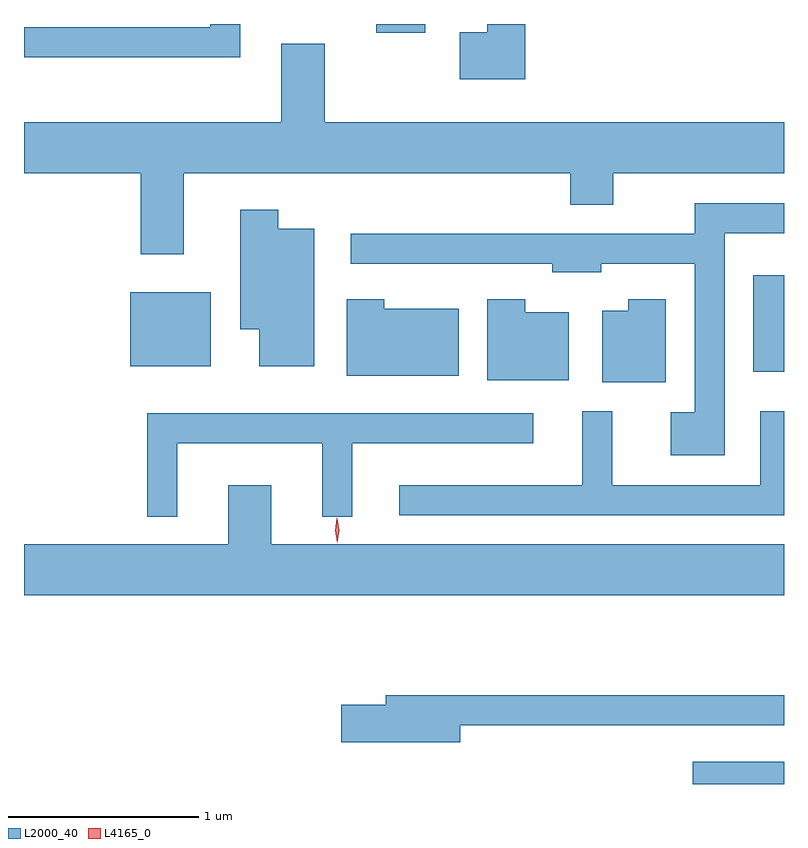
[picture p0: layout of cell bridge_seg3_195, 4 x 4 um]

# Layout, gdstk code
import gdstk
lib = gdstk.Library(unit=1e-6, precision=1e-09)
def R(c, l, rs):  # rectangles x0, y0, x1, y1
    for r in rs: c.add(gdstk.rectangle(r[:2], r[2:], *l))
def P(c, l, *ps):  # polygons
    for p in ps: c.add(gdstk.Polygon(p, *l))
L2000_40 = (2000, 40)
L4165_0 = (4165, 0)

bridge_seg3_195 = lib.new_cell('bridge_seg3_195')
R(bridge_seg3_195, L2000_40, [(1019.276,1158.322,1019.757,1158.439), (1019.596,1160.491,1019.757,1160.999), (1016.316,1160.521,1016.739,1160.909), (1017.611,1162.276,1017.869,1162.322)])
P(bridge_seg3_195, L2000_40, [(1016.894,1162.322),(1016.736,1162.322),(1016.736,1162.304),(1015.757,1162.304),(1015.757,1162.146),(1016.894,1162.146)],
  [(1018.394,1162.322),(1018.196,1162.322),(1018.196,1162.279),(1018.051,1162.279),(1018.051,1162.031),(1018.394,1162.031)],
  [(1016.599,1161.536),(1018.631,1161.536),(1018.631,1161.371),(1018.859,1161.371),(1018.859,1161.536),(1019.757,1161.536),(1019.757,1161.804),(1017.339,1161.804),(1017.339,1162.219),(1017.111,1162.219),(1017.111,1161.804),(1015.757,1161.804),(1015.757,1161.536),(1016.371,1161.536),(1016.371,1161.111),(1016.599,1161.111)],
  [(1019.444,1161.221),(1019.757,1161.221),(1019.757,1161.379),(1019.286,1161.379),(1019.286,1161.219),(1017.478,1161.219),(1017.478,1161.061),(1018.536,1161.061),(1018.536,1161.016),(1018.794,1161.016),(1018.794,1161.061),(1019.286,1161.061),(1019.286,1160.279),(1019.161,1160.279),(1019.161,1160.051),(1019.444,1160.051)],
  [(1017.284,1161.244),(1017.094,1161.244),(1017.094,1161.344),(1016.896,1161.344),(1016.896,1160.716),(1016.996,1160.716),(1016.996,1160.521),(1017.284,1160.521)],
  [(1018.044,1160.824),(1017.654,1160.824),(1017.654,1160.874),(1017.456,1160.874),(1017.456,1160.471),(1018.044,1160.471)],
  [(1019.134,1160.874),(1018.936,1160.874),(1018.936,1160.814),(1018.801,1160.814),(1018.801,1160.436),(1019.134,1160.436)],
  [(1018.624,1160.804),(1018.394,1160.804),(1018.394,1160.874),(1018.196,1160.874),(1018.196,1160.446),(1018.624,1160.446)],
  [(1019.757,1160.283),(1019.631,1160.283),(1019.631,1159.894),(1018.854,1159.894),(1018.854,1160.283),(1018.696,1160.283),(1018.696,1159.894),(1017.733,1159.894),(1017.733,1159.736),(1019.757,1159.736)],
  [(1016.564,1160.116),(1017.326,1160.116),(1017.326,1159.728),(1017.484,1159.728),(1017.484,1160.116),(1018.438,1160.116),(1018.438,1160.274),(1016.406,1160.274),(1016.406,1159.728),(1016.564,1159.728)],
  [(1019.757,1159.584),(1017.059,1159.584),(1017.059,1159.894),(1016.831,1159.894),(1016.831,1159.584),(1015.757,1159.584),(1015.757,1159.316),(1019.757,1159.316)],
  [(1018.054,1158.631),(1019.757,1158.631),(1019.757,1158.789),(1017.661,1158.789),(1017.661,1158.739),(1017.426,1158.739),(1017.426,1158.541),(1018.054,1158.541)])
P(bridge_seg3_195, L4165_0, [(1017.405,1159.593),(1017.395,1159.658),(1017.404,1159.722),(1017.405,1159.722),(1017.406,1159.722),(1017.415,1159.658),(1017.406,1159.593),(1017.406,1159.593)])

lib.write_gds('bridge_seg3_195.gds')
